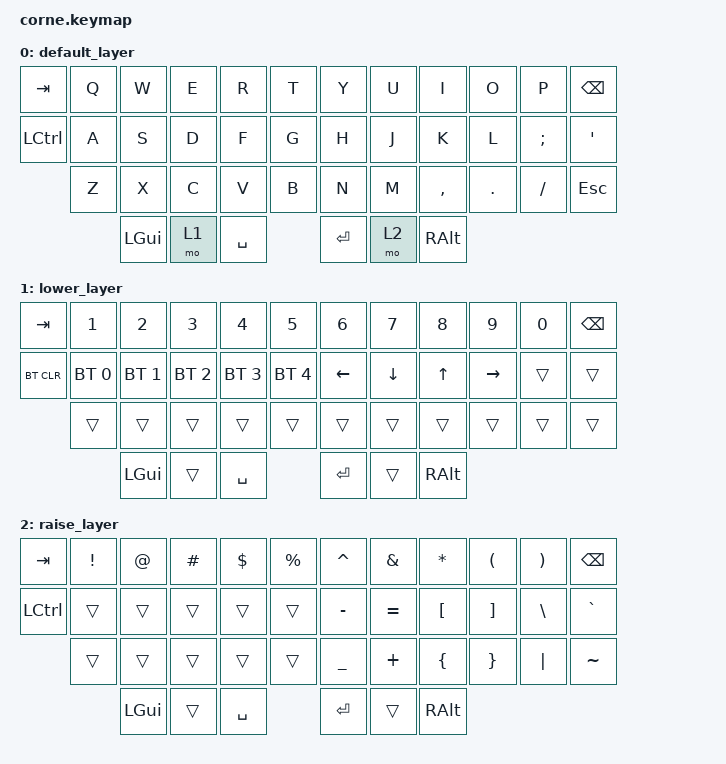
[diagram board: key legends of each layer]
/*
 * Copyright (c) 2020 The ZMK Contributors
 *
 * SPDX-License-Identifier: MIT
 */

#include <behaviors.dtsi>
#include <dt-bindings/zmk/keys.h>
#include <dt-bindings/zmk/bt.h>

/ {
        keymap {
                compatible = "zmk,keymap";

                default_layer {
// -----------------------------------------------------------------------------------------
// |  TAB |  Q  |  W  |  E  |  R  |  T  |   |  Y  |  U   |  I  |  O  |  P  | BSPC |
// | CTRL |  A  |  S  |  D  |  F  |  G  |   |  H  |  J   |  K  |  L  |  ;  |  '   |
// | SHFT |  Z  |  X  |  C  |  V  |  B  |   |  N  |  M   |  ,  |  .  |  /  | ESC  |
//                    | GUI | LWR | SPC |   | ENT | RSE  | ALT |
                        bindings = <
   &kp TAB   &kp Q &kp W &kp E &kp R &kp T   &kp Y &kp U  &kp I     &kp O   &kp P    &kp BSPC
   &kp LCTRL &kp A &kp S &kp D &kp F &kp G   &kp H &kp J  &kp K     &kp L   &kp SEMI &kp SQT
             &kp Z &kp X &kp C &kp V &kp B   &kp N &kp M  &kp COMMA &kp DOT &kp FSLH &kp ESC
                  &kp LGUI &mo 1 &kp SPACE   &kp RET &mo 2 &kp RALT
                        >;
                };
                lower_layer {
// -----------------------------------------------------------------------------------------
// |  TAB |  1  |  2  |  3  |  4  |  5  |   |  6  |  7  |  8  |  9  |  0  | BSPC |
// | BTCLR| BT1 | BT2 | BT3 | BT4 | BT5 |   | LFT | DWN |  UP | RGT |     |      |
//        |     |     |     |     |     |   |     |     |     |     |     |      |
//                    | GUI |     | SPC |   | ENT |     | ALT |
                        bindings = <
   &kp TAB    &kp N1       &kp N2       &kp N3       &kp N4       &kp N5         &kp N6   &kp N7   &kp N8 &kp N9    &kp N0 &kp BSPC
   &bt BT_CLR &bt BT_SEL 0 &bt BT_SEL 1 &bt BT_SEL 2 &bt BT_SEL 3 &bt BT_SEL 4   &kp LEFT &kp DOWN &kp UP &kp RIGHT &trans &trans
              &trans       &trans       &trans       &trans       &trans         &trans   &trans   &trans &trans    &trans &trans
                                    &kp LGUI     &trans       &kp SPACE      &kp RET  &trans   &kp RALT
                        >;
                };

                raise_layer {
// -----------------------------------------------------------------------------------------
// |  TAB |  !  |  @  |  #  |  $  |  %  |   |  ^  |  &  |  *  |  (  |  )  | BSPC |
// | CTRL |     |     |     |     |     |   |  -  |  =  |  [  |  ]  |  \  |  `   |
//        |     |     |     |     |     |   |  _  |  +  |  {  |  }  | "|" |  ~   |
//                    | GUI |     | SPC |   | ENT |     | ALT |
                        bindings = <
   &kp  TAB  &kp EXCL &kp AT &kp HASH &kp DLLR &kp PRCNT   &kp CARET &kp AMPS  &kp ASTRK &kp LPAR &kp RPAR &kp BSPC
   &kp LCTRL &trans   &trans &trans   &trans   &trans      &kp MINUS &kp EQUAL &kp LBKT  &kp RBKT &kp BSLH &kp GRAVE
             &trans   &trans &trans   &trans   &trans      &kp UNDER &kp PLUS  &kp LBRC  &kp RBRC &kp PIPE &kp TILDE
                             &kp LGUI &trans   &kp SPACE   &kp RET   &trans    &kp RALT
                        >;
                };
        };
};

/* Shield corne.dtsi runs after config overlays and resets
 * zmk,physical-layout to the stock 42-key Corne map. Force ours
 * last so dropping RC(2,0) does not shift the right bottom row. */
/ {
        chosen {
                zmk,physical-layout = &kiwiboard_layout;
        };
};

/* Applied last, after the Corne shield defines kscan0.
 * Right USB test pinout:
 *   rows top→thumbs: 024 100 011 104
 *   cols outer→inner: 029 002 115 113 111 010
 * Firmware col-gpios are inner→outer. */
&kscan0 {
    /delete-property/ row-gpios;
    row-gpios
        = <&pro_micro 5 (GPIO_ACTIVE_HIGH | GPIO_PULL_DOWN)>  /* P0.24 */
        , <&pro_micro 6 (GPIO_ACTIVE_HIGH | GPIO_PULL_DOWN)>  /* P1.00 */
        , <&pro_micro 7 (GPIO_ACTIVE_HIGH | GPIO_PULL_DOWN)>  /* P0.11 */
        , <&pro_micro 8 (GPIO_ACTIVE_HIGH | GPIO_PULL_DOWN)>  /* P1.04 */
        ;

    /delete-property/ col-gpios;
    col-gpios
        = <&pro_micro 16 GPIO_ACTIVE_HIGH>  /* P0.10 / D16 inner */
        , <&pro_micro 14 GPIO_ACTIVE_HIGH>  /* P1.11 */
        , <&pro_micro 15 GPIO_ACTIVE_HIGH>  /* P1.13 */
        , <&pro_micro 18 GPIO_ACTIVE_HIGH>  /* P1.15 */
        , <&pro_micro 19 GPIO_ACTIVE_HIGH>  /* P0.02 */
        , <&pro_micro 20 GPIO_ACTIVE_HIGH>  /* P0.29 outer */
        ;
};
